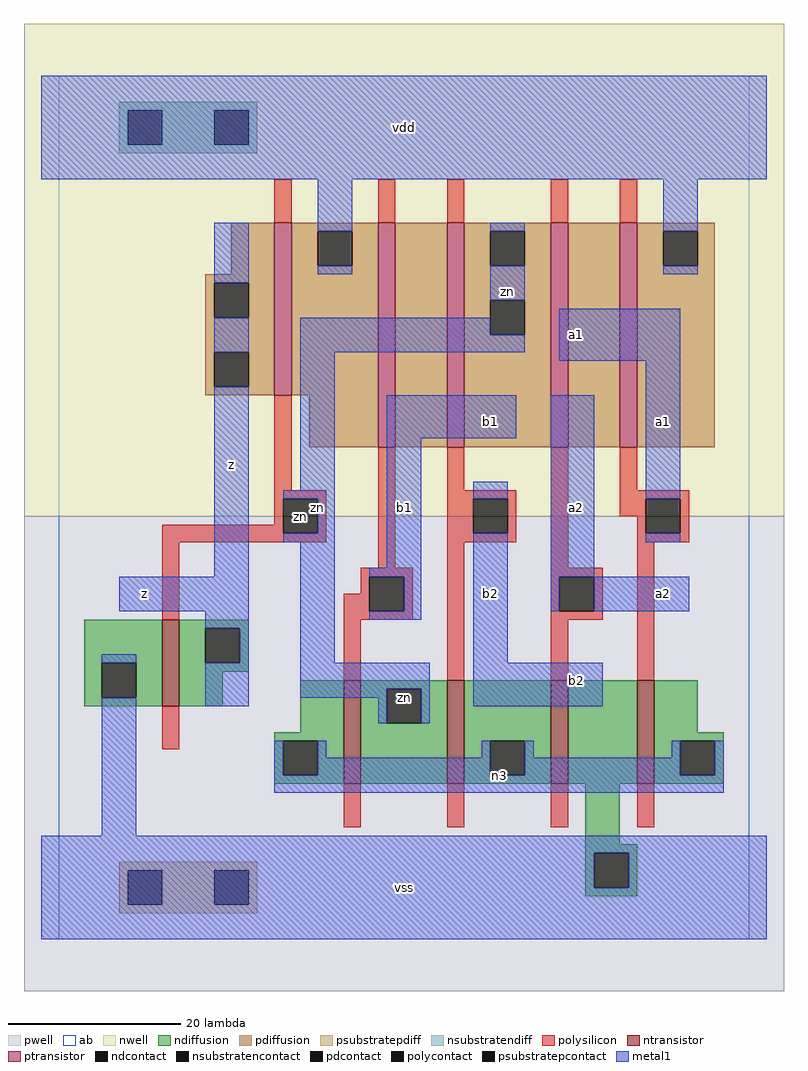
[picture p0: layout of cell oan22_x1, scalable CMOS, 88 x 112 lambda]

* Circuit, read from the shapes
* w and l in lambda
.subckt oan22_x1 a1 a2 b1 b2 n3 vdd vss z zn
M1 z zn vss vss nfet w=10 l=2
M2 zn b1 n3 vss nfet w=12 l=2
M3 n3 b2 zn vss nfet w=12 l=2
M4 vss a2 n3 vss nfet w=12 l=2
M5 n3 a1 vss vss nfet w=12 l=2
M6 vdd zn z vdd pfet w=20 l=2
M7 n1 b1 vdd vdd pfet w=26 l=2
M8 zn b2 n1 vdd pfet w=26 l=2
M9 n2 a2 zn vdd pfet w=26 l=2
M10 vdd a1 n2 vdd pfet w=26 l=2
.ends

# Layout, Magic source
magic
tech scmos
<< ab >>
rect 0 0 80 100
<< pwell >>
rect -4 -6 84 49
<< nwell >>
rect -4 49 84 106
<< polysilicon >>
rect 25 83 27 88
rect 37 83 39 88
rect 45 83 47 88
rect 57 83 59 88
rect 65 83 67 88
rect 25 52 27 63
rect 25 51 31 52
rect 25 48 26 51
rect 12 47 26 48
rect 30 47 31 51
rect 12 46 31 47
rect 12 37 14 46
rect 37 43 39 57
rect 45 52 47 57
rect 45 51 53 52
rect 45 47 48 51
rect 52 47 53 51
rect 45 46 53 47
rect 35 42 41 43
rect 35 40 36 42
rect 33 38 36 40
rect 40 38 41 42
rect 33 37 41 38
rect 33 30 35 37
rect 45 30 47 46
rect 57 43 59 57
rect 65 52 67 57
rect 65 51 73 52
rect 65 49 68 51
rect 67 47 68 49
rect 72 47 73 51
rect 67 46 73 47
rect 57 42 63 43
rect 57 38 58 42
rect 62 38 63 42
rect 57 37 63 38
rect 57 30 59 37
rect 67 30 69 46
rect 12 22 14 27
rect 33 13 35 18
rect 45 13 47 18
rect 57 13 59 18
rect 67 13 69 18
<< ndiffusion >>
rect 3 32 12 37
rect 3 28 5 32
rect 9 28 12 32
rect 3 27 12 28
rect 14 36 22 37
rect 14 32 17 36
rect 21 32 22 36
rect 14 31 22 32
rect 14 27 19 31
rect 28 24 33 30
rect 25 23 33 24
rect 25 19 26 23
rect 30 19 33 23
rect 25 18 33 19
rect 35 29 45 30
rect 35 25 38 29
rect 42 25 45 29
rect 35 18 45 25
rect 47 23 57 30
rect 47 19 50 23
rect 54 19 57 23
rect 47 18 57 19
rect 59 18 67 30
rect 69 24 74 30
rect 69 23 77 24
rect 69 19 72 23
rect 76 19 77 23
rect 69 18 77 19
rect 61 11 65 18
rect 61 10 67 11
rect 61 6 62 10
rect 66 6 67 10
rect 61 5 67 6
<< pdiffusion >>
rect 20 77 25 83
rect 17 76 25 77
rect 17 72 18 76
rect 22 72 25 76
rect 17 68 25 72
rect 17 64 18 68
rect 22 64 25 68
rect 17 63 25 64
rect 27 82 37 83
rect 27 78 30 82
rect 34 78 37 82
rect 27 63 37 78
rect 29 57 37 63
rect 39 57 45 83
rect 47 82 57 83
rect 47 78 50 82
rect 54 78 57 82
rect 47 74 57 78
rect 47 70 50 74
rect 54 70 57 74
rect 47 57 57 70
rect 59 57 65 83
rect 67 82 76 83
rect 67 78 70 82
rect 74 78 76 82
rect 67 57 76 78
<< metal1 >>
rect -2 88 82 100
rect 18 76 22 83
rect 30 82 34 88
rect 30 77 34 78
rect 50 82 54 83
rect 50 74 54 78
rect 70 82 74 88
rect 70 77 74 78
rect 18 68 22 72
rect 18 42 22 64
rect 28 70 50 72
rect 28 68 54 70
rect 28 52 32 68
rect 58 67 72 73
rect 26 51 32 52
rect 30 47 32 51
rect 26 46 32 47
rect 7 38 22 42
rect 17 36 22 38
rect 5 32 9 33
rect 5 12 9 28
rect 21 32 22 36
rect 17 27 22 32
rect 28 32 32 46
rect 38 58 53 63
rect 38 43 42 58
rect 36 42 42 43
rect 40 38 42 42
rect 36 37 42 38
rect 48 51 52 53
rect 48 32 52 47
rect 57 42 62 63
rect 68 51 72 67
rect 68 46 72 47
rect 57 38 58 42
rect 62 38 73 42
rect 28 29 43 32
rect 28 28 38 29
rect 37 25 38 28
rect 42 25 43 29
rect 48 27 63 32
rect 25 19 26 23
rect 30 21 31 23
rect 49 21 50 23
rect 30 19 50 21
rect 54 21 55 23
rect 71 21 72 23
rect 54 19 72 21
rect 76 19 77 23
rect 25 17 77 19
rect -2 10 82 12
rect -2 6 62 10
rect 66 6 82 10
rect -2 0 82 6
<< ntransistor >>
rect 12 27 14 37
rect 33 18 35 30
rect 45 18 47 30
rect 57 18 59 30
rect 67 18 69 30
<< ptransistor >>
rect 25 63 27 83
rect 37 57 39 83
rect 45 57 47 83
rect 57 57 59 83
rect 65 57 67 83
<< polycontact >>
rect 26 47 30 51
rect 48 47 52 51
rect 36 38 40 42
rect 68 47 72 51
rect 58 38 62 42
<< ndcontact >>
rect 5 28 9 32
rect 17 32 21 36
rect 26 19 30 23
rect 38 25 42 29
rect 50 19 54 23
rect 72 19 76 23
rect 62 6 66 10
<< pdcontact >>
rect 18 72 22 76
rect 18 64 22 68
rect 30 78 34 82
rect 50 78 54 82
rect 50 70 54 74
rect 70 78 74 82
<< psubstratepcontact >>
rect 8 4 12 8
rect 18 4 22 8
<< nsubstratencontact >>
rect 8 92 12 96
rect 18 92 22 96
<< psubstratepdiff >>
rect 7 8 23 9
rect 7 4 8 8
rect 12 4 18 8
rect 22 4 23 8
rect 7 3 23 4
<< nsubstratendiff >>
rect 7 96 23 97
rect 7 92 8 96
rect 12 92 18 96
rect 22 92 23 96
rect 7 91 23 92
<< labels >>
rlabel polycontact 28 49 28 49 6 zn
rlabel metal1 10 40 10 40 6 z
rlabel metal1 10 40 10 40 6 z
rlabel metal1 20 55 20 55 6 z
rlabel metal1 20 55 20 55 6 z
rlabel metal1 40 6 40 6 6 vss
rlabel metal1 40 6 40 6 6 vss
rlabel ndcontact 40 28 40 28 6 zn
rlabel metal1 40 50 40 50 6 b1
rlabel metal1 40 50 40 50 6 b1
rlabel metal1 30 50 30 50 6 zn
rlabel metal1 40 94 40 94 6 vdd
rlabel metal1 40 94 40 94 6 vdd
rlabel metal1 60 30 60 30 6 b2
rlabel metal1 60 30 60 30 6 b2
rlabel metal1 50 40 50 40 6 b2
rlabel metal1 50 40 50 40 6 b2
rlabel metal1 60 50 60 50 6 a2
rlabel metal1 60 50 60 50 6 a2
rlabel metal1 50 60 50 60 6 b1
rlabel metal1 50 60 50 60 6 b1
rlabel metal1 60 70 60 70 6 a1
rlabel metal1 60 70 60 70 6 a1
rlabel metal1 52 75 52 75 6 zn
rlabel metal1 51 19 51 19 6 n3
rlabel metal1 70 40 70 40 6 a2
rlabel metal1 70 40 70 40 6 a2
rlabel metal1 70 60 70 60 6 a1
rlabel metal1 70 60 70 60 6 a1
<< end >>
